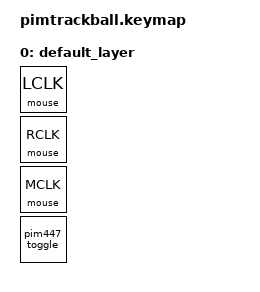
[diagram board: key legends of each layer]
#include <behaviors.dtsi>
#include <dt-bindings/zmk/keys.h>
#include <dt-bindings/zmk/mouse.h>
#include <dt-bindings/zmk/trackball_pim447.h>

/ {
    keymap {
        compatible = "zmk,keymap";
                // ROW A FROM SCHEMATIC FILE
                // ROW A FROM SCHEMATIC FILE
                // ROW A FROM SCHEMATIC FILE
        default_layer {
            bindings = <
                &mouse LCLK
                &mouse RCLK
                &mouse MCLK
                &pim447_toggle
           >;
        };
    };
};
